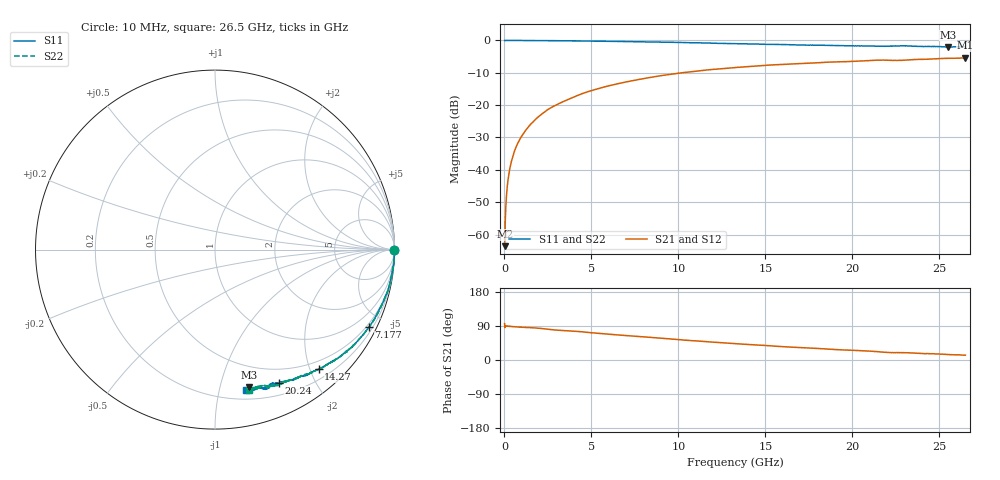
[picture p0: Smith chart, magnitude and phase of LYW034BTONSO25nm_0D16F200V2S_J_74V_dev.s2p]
!Keysight Technologies,N5222B,MY61253708,A.15.00.15
!Date: Wednesday, June 19, 2024 09:21:19
!Correction: S11(C  2-Port  )
!S21(C  2-Port  )
!S12(C  2-Port  )
!S22(C  2-Port  )
!S2P File: Measurements: S11, S21, S12, S22:
# Hz S  RI  R 50
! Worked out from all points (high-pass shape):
!   2651 points, 10 MHz to 26.5 GHz, reference 50 ohm
!   highest |S21| = -5.36 dB at 26.5 GHz (marker M1); lowest = -63.6 dB at 20 MHz (marker M2)
!   |S21| within 3 dB of the highest: 13.29 GHz to end of sweep
!   lowest |S11| = -2.1 dB at 25.5 GHz (marker M3), VSWR 8.51, Z = 15.2 - j61.8 ohm
!   |S11| at or under -10 dB: nowhere
!   |S22| runs from -2.0 to 0.0 dB; largest |S21 - S12| = 0.0069
!   S11 on the Smith chart (normalised r, x): 10 MHz: open; 7.177 GHz: 0.38, -4.18; 14.27 GHz: 0.35, -2.14; 20.24 GHz: 0.33, -1.54; 26.5 GHz: 0.28, -1.21
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1e7  0.9987 -0.00236  -9.31e-05 0.00091  -4.12e-05 0.000401  0.9985 -0.00121
1.999623e7  0.9989 -0.00222  5.2e-05 0.000658  3.95e-05 0.000628  0.9994 -0.00222
8.996981e7  0.9999 -0.00593  8.37e-06 0.00305  3.4e-05 0.00305  0.9996 -0.00559
1.699396e8  0.9998 -0.012  7.44e-05 0.00574  6.42e-05 0.00579  0.9996 -0.0113
2.199208e8  0.9997 -0.0154  0.000116 0.00739  0.000114 0.00747  0.9993 -0.0146
2.798981e8  0.9998 -0.0195  0.000136 0.00944  0.00021 0.00948  0.9996 -0.0187
3.898566e8  0.9992 -0.0273  0.000384 0.0131  0.000404 0.0132  0.9992 -0.0262
5.198075e8  0.999 -0.0354  0.000596 0.0174  0.000644 0.0176  0.9992 -0.0347
8.796717e8  0.9978 -0.0599  0.0017 0.0294  0.00172 0.0296  0.9971 -0.0586
1.479445e9  0.9901 -0.1014  0.00409 0.0497  0.00415 0.05  0.993 -0.0971
2.359113e9  0.9808 -0.1563  0.0108 0.0801  0.011 0.0807  0.9824 -0.1559
3.218789e9  0.9685 -0.2118  0.0221 0.106  0.0224 0.1068  0.9694 -0.21
4.428332e9  0.94 -0.2847  0.0399 0.1437  0.0404 0.1447  0.9422 -0.2811
7.177294e9  0.8574 -0.4319  0.1027 0.2096  0.1044 0.2104  0.8601 -0.4297
8.846664e9  0.7962 -0.5067  0.149 0.2386  0.1507 0.2393  0.7989 -0.5039
1.3255e10  0.6173 -0.6446  0.2776 0.2607  0.2802 0.2605  0.6228 -0.6423
1.427462e10  0.5775 -0.6674  0.3039 0.2572  0.3067 0.2567  0.5828 -0.6629
1.767333e10  0.4437 -0.7205  0.3833 0.2309  0.3871 0.2289  0.4566 -0.7179
2.024236e10  0.3564 -0.7432  0.4338 0.202  0.4367 0.1996  0.373 -0.7422
2.209166e10  0.3094 -0.7504  0.4648 0.1676  0.4667 0.1643  0.3057 -0.7574
2.550038e10  0.1916 -0.7661  0.5128 0.1302  0.5143 0.1297  0.2138 -0.7706
2.65e10  0.1728 -0.7808  0.5262 0.1192  0.5256 0.1151  0.1876 -0.7805
